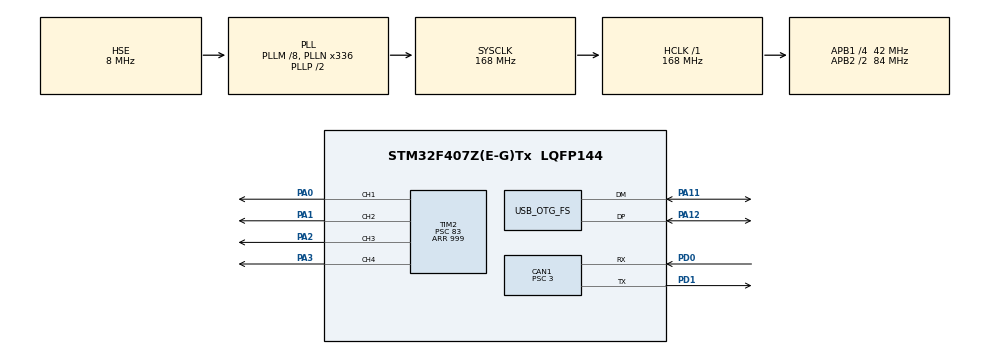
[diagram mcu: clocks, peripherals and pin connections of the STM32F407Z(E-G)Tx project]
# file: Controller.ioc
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CAN1.ABOM=ENABLE
CAN1.BS1=CAN_BS1_11TQ
CAN1.BS2=CAN_BS2_2TQ
CAN1.CalculateBaudRate=1000000
CAN1.CalculateTimeBit=1000
CAN1.CalculateTimeQuantum=71.42857142857143
CAN1.NART=ENABLE
CAN1.Prescaler=3
CAN1.TXFP=ENABLE
FREERTOS.Queues01=canRxQueue,64,CAN_RxPacketTypeDef,0,Dynamic,NULL,NULL;powerManagementQueue,32,Robot_general,0,Dynamic,NULL,NULL;sensorEkfData,32,Robot_general,0,Dynamic,NULL,NULL;motionControl,32,Robot_general,0,Dynamic,NULL,NULL
FREERTOS.Tasks01=Contorl,24,256,MotionControlTask,Default,NULL,Dynamic,NULL,NULL;CanDataCenter,32,256,CanCommunicationTask,Default,NULL,Dynamic,NULL,NULL;PowerManagement,16,256,PowerHandleTask,Default,NULL,Dynamic,NULL,NULL;EkfAlgorithm,24,256,NavigationEkfTask,Default,NULL,Dynamic,NULL,NULL
Mcu.Family=STM32F4
Mcu.Name=STM32F407Z(E-G)Tx
Mcu.Package=LQFP144
NVIC.CAN1_RX0_IRQn=true\:5\:0\:true\:false\:true\:true\:true\:true\:true
NVIC.OTG_FS_IRQn=true\:5\:0\:false\:false\:true\:true\:false\:true\:true
NVIC.PriorityGroup=NVIC_PRIORITYGROUP_4
NVIC.TIM6_DAC_IRQn=true\:15\:0\:false\:false\:true\:false\:false\:true\:true
NVIC.TimeBase=TIM6_DAC_IRQn
NVIC.TimeBaseIP=TIM6
PA0-WKUP.Signal=S_TIM2_CH1_ETR
PA1.Signal=S_TIM2_CH2
PA11.Mode=Device_Only
PA11.Signal=USB_OTG_FS_DM
PA12.Mode=Device_Only
PA12.Signal=USB_OTG_FS_DP
PA13.Mode=Serial_Wire
PA13.Signal=SYS_JTMS-SWDIO
PA14.Mode=Serial_Wire
PA14.Signal=SYS_JTCK-SWCLK
PA2.Signal=S_TIM2_CH3
PA3.Signal=S_TIM2_CH4
PD0.Mode=CAN_Activate
PD0.Signal=CAN1_RX
PD1.Mode=CAN_Activate
PD1.Signal=CAN1_TX
PH0-OSC_IN.Mode=HSE-External-Oscillator
PH0-OSC_IN.Signal=RCC_OSC_IN
PH1-OSC_OUT.Mode=HSE-External-Oscillator
PH1-OSC_OUT.Signal=RCC_OSC_OUT
ProjectManager.HeapSize=0x1000
ProjectManager.StackSize=0x1000
ProjectManager.TargetToolchain=CMake
RCC.48MHZClocksFreq_Value=48000000
RCC.AHBFreq_Value=168000000
RCC.APB1CLKDivider=RCC_HCLK_DIV4
RCC.APB1Freq_Value=42000000
RCC.APB1TimFreq_Value=84000000
RCC.APB2CLKDivider=RCC_HCLK_DIV2
RCC.APB2Freq_Value=84000000
RCC.APB2TimFreq_Value=168000000
RCC.CortexFreq_Value=168000000
RCC.HCLKFreq_Value=168000000
RCC.HSE_VALUE=8000000
RCC.HSI_VALUE=16000000
RCC.LSE_VALUE=32768
RCC.PLLM=8
RCC.PLLN=336
RCC.PLLQ=7
RCC.SYSCLKFreq_VALUE=168000000
RCC.SYSCLKSource=RCC_SYSCLKSOURCE_PLLCLK
RCC.VCOOutputFreq_Value=336000000
SH.S_TIM2_CH1_ETR.0=TIM2_CH1,PWM Generation1 CH1
SH.S_TIM2_CH2.0=TIM2_CH2,PWM Generation2 CH2
SH.S_TIM2_CH3.0=TIM2_CH3,PWM Generation3 CH3
SH.S_TIM2_CH4.0=TIM2_CH4,PWM Generation4 CH4
TIM2.Channel-PWM\ Generation1\ CH1=TIM_CHANNEL_1
TIM2.Channel-PWM\ Generation2\ CH2=TIM_CHANNEL_2
TIM2.Channel-PWM\ Generation3\ CH3=TIM_CHANNEL_3
TIM2.Channel-PWM\ Generation4\ CH4=TIM_CHANNEL_4
TIM2.Period=999
TIM2.Prescaler=83
TIM2.Pulse-PWM\ Generation1\ CH1=0
USB_DEVICE.CLASS_NAME_FS=CDC
USB_DEVICE.VirtualMode-CDC_FS=Cdc
USB_DEVICE.VirtualModeFS=Cdc_FS
USB_OTG_FS.VirtualMode=Device_Only
VP_FREERTOS_VS_CMSIS_V2.Mode=CMSIS_V2
VP_SYS_VS_tim6.Mode=TIM6
VP_TIM2_VS_ClockSourceINT.Mode=Internal
VP_USB_DEVICE_VS_USB_DEVICE_CDC_FS.Mode=CDC_FS
board=custom

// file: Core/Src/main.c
/* USER CODE BEGIN Header */
/**
  ******************************************************************************
  * @file           : main.c
  * @brief          : Main program body
  ******************************************************************************
  * @attention
  *
  * Copyright (c) 2026 STMicroelectronics.
  * All rights reserved.
  *
  * This software is licensed under terms that can be found in the LICENSE file
  * in the root directory of this software component.
  * If no LICENSE file comes with this software, it is provided AS-IS.
  *
  ******************************************************************************
  */
/* USER CODE END Header */
#include "main.h"
#include "cmsis_os.h"
#include "can.h"
#include "tim.h"
#include "usb_device.h"
#include "gpio.h"

/* USER CODE BEGIN Includes */
#include "usbd_cdc_if.h"   // 引入生成的 USB 库函数的发送文件
#include <stdio.h>         // 还是为了用 sprintf 打包文本字符串用
#include <string.h>        // 为了用 strlen()
#include "bsp_can.h"      // 引入我们自己写的 CAN 驱动头文件
/* USER CODE END Includes */

void SystemClock_Config(void);
void MX_FREERTOS_Init(void);

int main(void)
{

  /* MCU Configuration--------------------------------------------------------*/

  /* Reset of all peripherals, Initializes the Flash interface and the Systick. */
  HAL_Init();

  /* Configure the system clock */
  SystemClock_Config();

  /* Initialize all configured peripherals */
  MX_GPIO_Init();
  MX_CAN1_Init();
  MX_TIM2_Init();
  /* USER CODE BEGIN 2 */

  CAN_Filter_Config(); // 1. 应用过滤器配置

  if (HAL_CAN_Start(&hcan1) != HAL_OK) // 2. 启动 CAN 外设
  {
    Error_Handler(); // 启动失败则进入死循环
  }

  if (HAL_CAN_ActivateNotification(&hcan1, CAN_IT_RX_FIFO0_MSG_PENDING) != HAL_OK) // 3. 激活FIFO0数据挂起中断
  {
    Error_Handler(); // 激活中断失败则进入死循环
  }

  HAL_TIM_PWM_Start(&htim2, TIM_CHANNEL_1);
  HAL_TIM_PWM_Start(&htim2, TIM_CHANNEL_2);
  HAL_TIM_PWM_Start(&htim2, TIM_CHANNEL_3);
  HAL_TIM_PWM_Start(&htim2, TIM_CHANNEL_4);
  /* USER CODE END 2 */

  /* Init scheduler */
  osKernelInitialize();  /* Call init function for freertos objects (in cmsis_os2.c) */
  MX_FREERTOS_Init();

  /* Start scheduler */
  osKernelStart();

  /* We should never get here as control is now taken by the scheduler */

  /* Infinite loop */
  while (1)
  {

  }
}

void SystemClock_Config(void)
{
  RCC_OscInitTypeDef RCC_OscInitStruct = {0};
  RCC_ClkInitTypeDef RCC_ClkInitStruct = {0};

  /** Configure the main internal regulator output voltage
  */
  __HAL_RCC_PWR_CLK_ENABLE();
  __HAL_PWR_VOLTAGESCALING_CONFIG(PWR_REGULATOR_VOLTAGE_SCALE1);

  /** Initializes the RCC Oscillators according to the specified parameters
  * in the RCC_OscInitTypeDef structure.
  */
  RCC_OscInitStruct.OscillatorType = RCC_OSCILLATORTYPE_HSE;
  RCC_OscInitStruct.HSEState = RCC_HSE_ON;
  RCC_OscInitStruct.PLL.PLLState = RCC_PLL_ON;
  RCC_OscInitStruct.PLL.PLLSource = RCC_PLLSOURCE_HSE;
  RCC_OscInitStruct.PLL.PLLM = 8;
  RCC_OscInitStruct.PLL.PLLN = 336;
  RCC_OscInitStruct.PLL.PLLP = RCC_PLLP_DIV2;
  RCC_OscInitStruct.PLL.PLLQ = 7;
  if (HAL_RCC_OscConfig(&RCC_OscInitStruct) != HAL_OK)
  {
    Error_Handler();
  }

  /** Initializes the CPU, AHB and APB buses clocks
  */
  RCC_ClkInitStruct.ClockType = RCC_CLOCKTYPE_HCLK|RCC_CLOCKTYPE_SYSCLK
                              |RCC_CLOCKTYPE_PCLK1|RCC_CLOCKTYPE_PCLK2;
  RCC_ClkInitStruct.SYSCLKSource = RCC_SYSCLKSOURCE_PLLCLK;
  RCC_ClkInitStruct.AHBCLKDivider = RCC_SYSCLK_DIV1;
  RCC_ClkInitStruct.APB1CLKDivider = RCC_HCLK_DIV4;
  RCC_ClkInitStruct.APB2CLKDivider = RCC_HCLK_DIV2;

  if (HAL_RCC_ClockConfig(&RCC_ClkInitStruct, FLASH_LATENCY_5) != HAL_OK)
  {
    Error_Handler();
  }
}

void HAL_TIM_PeriodElapsedCallback(TIM_HandleTypeDef *htim)
{
  if (htim->Instance == TIM6)
  {
    HAL_IncTick();
  }
}

void Error_Handler(void)
{
  __disable_irq();
  while (1)
  {
  }
}

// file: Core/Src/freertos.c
/* USER CODE BEGIN Header */
/**
  ******************************************************************************
  * File Name          : freertos.c
  * Description        : Code for freertos applications
  ******************************************************************************
  * @attention
  *
  * Copyright (c) 2026 STMicroelectronics.
  * All rights reserved.
  *
  * This software is licensed under terms that can be found in the LICENSE file
  * in the root directory of this software component.
  * If no LICENSE file comes with this software, it is provided AS-IS.
  *
  ******************************************************************************
  */
/* USER CODE END Header */

#include "FreeRTOS.h"
#include "task.h"
#include "main.h"
#include "cmsis_os.h"

/* USER CODE BEGIN Includes */
#include "usbd_cdc_if.h"
#include <stdint.h>
#include <stdio.h>
#include <string.h>
#include "bsp_can.h" // 引入 CAN 数据包定义
#include "power_management.h" // 引入电源管理业务逻辑层
#include "ekf.h" // 引入 EKF 算法接口
#include "control.h" // 引入运动控制算法接口
#include "FreeRTOSConfig.h" // 用于 SystemCoreClock
/* USER CODE END Includes */

/* USER CODE BEGIN Variables */
/* CAN transmit queue */
osMessageQueueId_t canTxQueueHandle;
const osMessageQueueAttr_t canTxQueue_attributes = {
  .name = "canTxQueue"
};

/* CAN Tx task handle */
osThreadId_t CanTxHandle;
const osThreadAttr_t CanTx_attributes = {
  .name = "CanTxTask",
  .stack_size = 256 * 4,
  .priority = (osPriority_t) osPriorityNormal,
};

/* USER CODE END Variables */
/* Definitions for Contorl */
osThreadId_t ContorlHandle;
const osThreadAttr_t Contorl_attributes = {
  .name = "Contorl",
  .stack_size = 256 * 4,
  .priority = (osPriority_t) osPriorityNormal,
};
/* Definitions for CanDataCenter */
osThreadId_t CanDataCenterHandle;
const osThreadAttr_t CanDataCenter_attributes = {
  .name = "CanDataCenter",
  .stack_size = 256 * 4,
  .priority = (osPriority_t) osPriorityAboveNormal,
};
/* Definitions for PowerManagement */
osThreadId_t PowerManagementHandle;
const osThreadAttr_t PowerManagement_attributes = {
  .name = "PowerManagement",
  .stack_size = 256 * 4,
  .priority = (osPriority_t) osPriorityBelowNormal,
};
/* Definitions for EkfAlgorithm */
osThreadId_t EkfAlgorithmHandle;
const osThreadAttr_t EkfAlgorithm_attributes = {
  .name = "EkfAlgorithm",
  .stack_size = 256 * 4,
  .priority = (osPriority_t) osPriorityNormal,
};
/* Definitions for canRxQueue */
osMessageQueueId_t canRxQueueHandle;
const osMessageQueueAttr_t canRxQueue_attributes = {
  .name = "canRxQueue"
};
/* Definitions for powerManagementQueue */
osMessageQueueId_t powerManagementQueueHandle;
const osMessageQueueAttr_t powerManagementQueue_attributes = {
  .name = "powerManagementQueue"
};
/* Definitions for sensorEkfData */
osMessageQueueId_t sensorEkfDataHandle;
const osMessageQueueAttr_t sensorEkfData_attributes = {
  .name = "sensorEkfData"
};
/* Definitions for motionControl */
osMessageQueueId_t motionControlHandle;
const osMessageQueueAttr_t motionControl_attributes = {
  .name = "motionControl"
};

/* USER CODE BEGIN FunctionPrototypes */
void MonitorTask(void *argument);
void CAN_TxTask(void *argument);

/* 软件扩展的 64 位时钟周期计数器 */
static volatile uint32_t prev_cycles = 0;
static volatile uint64_t cycle_overflows = 0;

/* 获取 64 位时钟周期的安全函数 */
static inline uint64_t get_system_cycles_64(void) {
    uint32_t current_cycles;
    uint64_t overflows;

    /* 屏蔽部分中断以保证读取和状态更新的原子性 */
    uint32_t isr_status = portSET_INTERRUPT_MASK_FROM_ISR();
    current_cycles = DWT->CYCCNT; /* 直接读取底层硬件周期寄存器 */
    if (current_cycles < prev_cycles) {
        cycle_overflows += (1ULL << 32); /* 发生溢出，累加 2^32 */
    }
    prev_cycles = current_cycles;
    overflows = cycle_overflows;
    portCLEAR_INTERRUPT_MASK_FROM_ISR(isr_status);

    return overflows + current_cycles;
}

/* 提供给 FreeRTOS RunTimeStats 的接口，降低时钟频率至 ~10kHz 防止百分比爆炸 */
uint32_t AppGetRunTimeCounterValue(void) {
    /* 10kHz 即 100us 分辨率，最大可以支撑 FreeRTOS 运行约 4.9 天才发生 32位 溢出 */
    return (uint32_t)(get_system_cycles_64() / (SystemCoreClock / 10000));
}

static inline uint64_t get_hardware_time_us(void) {
    /* 利用 64 位周期计数计算微秒，再也不用担心 25 秒后清零导致的延时错误 */
    return get_system_cycles_64() * 1000000ULL / SystemCoreClock;
}

void delay_us(uint32_t us)
{
    uint64_t start_time = get_hardware_time_us();
    uint64_t target_time = start_time + us;

    while(get_hardware_time_us() < target_time)
    {
        /* 等待直到达到目标时间 */
        __NOP(); /* 可选，防止被优化 */
    }
}
/* USER CODE END FunctionPrototypes */

void MotionControlTask(void *argument);
void CanCommunicationTask(void *argument);
void PowerHandleTask(void *argument);
void NavigationEkfTask(void *argument);

extern void MX_USB_DEVICE_Init(void);
void MX_FREERTOS_Init(void); /* (MISRA C 2004 rule 8.1) */

void MX_FREERTOS_Init(void) {
  /* USER CODE BEGIN Init */
  MX_USB_DEVICE_Init();
  /* USER CODE END Init */

  /* USER CODE BEGIN RTOS_MUTEX */
  /* mutexes removed; using queue for CAN Tx */
  /* USER CODE END RTOS_MUTEX */

  /* Create the queue(s) */
  /* creation of canRxQueue */
  canRxQueueHandle = osMessageQueueNew (64, sizeof(CAN_RxPacketTypeDef), &canRxQueue_attributes);

  /* creation of powerManagementQueue */
  powerManagementQueueHandle = osMessageQueueNew (32, sizeof(Robot_general), &powerManagementQueue_attributes);

  /* creation of sensorEkfData */
  sensorEkfDataHandle = osMessageQueueNew (32, sizeof(Robot_general), &sensorEkfData_attributes);

  /* creation of motionControl */
  motionControlHandle = osMessageQueueNew (32, sizeof(Robot_general), &motionControl_attributes);

  /* USER CODE BEGIN RTOS_QUEUES */
  /* creation of canTxQueue */
  canTxQueueHandle = osMessageQueueNew (32, sizeof(CAN_TxPacketTypeDef), &canTxQueue_attributes);

  /* USER CODE END RTOS_QUEUES */

  /* Create the thread(s) */
  /* creation of Contorl */
  ContorlHandle = osThreadNew(MotionControlTask, NULL, &Contorl_attributes);

  /* creation of CanDataCenter */
  CanDataCenterHandle = osThreadNew(CanCommunicationTask, NULL, &CanDataCenter_attributes);

  /* creation of PowerManagement */
  PowerManagementHandle = osThreadNew(PowerHandleTask, NULL, &PowerManagement_attributes);

  /* creation of EkfAlgorithm */
  EkfAlgorithmHandle = osThreadNew(NavigationEkfTask, NULL, &EkfAlgorithm_attributes);

  /* USER CODE BEGIN RTOS_THREADS */
  /* creation of CAN Tx task */
  CanTxHandle = osThreadNew(CAN_TxTask, NULL, &CanTx_attributes);

  /* creation of MonitorTask */
  const osThreadAttr_t MonitorTask_attributes = {
    .name = "MonitorTask",
    .stack_size = 256 * 4,
    .priority = (osPriority_t) osPriorityLow,
  };
  osThreadNew(MonitorTask, NULL, &MonitorTask_attributes);
  /* USER CODE END RTOS_THREADS */

}

void MotionControlTask(void *argument)
{
  /* USER CODE BEGIN MotionControlTask */
  Robot_general data;
  float status[20]; // 20个位姿真值输入
  float status_now[20];
  uint16_t PWM_Value[4]; // 有4个电机的PWM控制输入
  const uint32_t EXEC_PERIOD_US = 20 * 1000; // 执行周期 10ms => 10000us
  uint64_t exec_tick_us = 0; // 算法执行耗时（us）

  memset(status, 0, sizeof(status));

  /* Infinite loop */
  for(;;)
  {
    // 等待控制触发标志（由 CAN 接收线程在收到 0x300 时设置）
    osThreadFlagsWait(0x01, osFlagsWaitAny, osWaitForever);
    delay_us(100); // 短暂等待，确保 CAN 数据已完全更新到队列中
    uint32_t cnt = 0;
    // 清空队列更新状态
    while (osMessageQueueGet(motionControlHandle, &data, NULL, 0) == osOK) {
        if (data.id >= 0x100 && data.id <= 0x107) {
            cnt++;
            int base_idx = (data.id - 0x100) * 2;
            if (base_idx < 20) {
                status[base_idx] = data.FloatBytes.f[0];
            }
            if (base_idx + 1 < 20) {
                status[base_idx + 1] = data.FloatBytes.f[1];
            }
        }
        else if (data.id == 0x300) {
            cnt++;
            // 0x300 包含 dt 和 0.0
            status[16] = data.FloatBytes.f[0]; // dt
            status[17] = data.FloatBytes.f[1]; // reserved
        }
    }
    memcpy(status_now, status, sizeof(status)); // 备份当前状态，供算法使用
    uint64_t start_tick_us = get_hardware_time_us();

    // 执行运动控制算法
    motion_control_algorithm(status_now, PWM_Value); // 运动控制算法处理，输出 PWM 控制值

    // 发送控制结果：ID 0x180 包含4个uint16 (8字节)
    CAN_Send_Data(0x180, (uint8_t *)PWM_Value, 8);

    // 计算算法单次执行耗时（ms）并发送
    exec_tick_us = get_hardware_time_us() - start_tick_us;
    data.FloatBytes.f[0] = (float)exec_tick_us / 1000.0f;  // 转换为毫秒
    CAN_Send_Data(0x400, data.FloatBytes.bytes, 4);
    // CAN_Send_Data(0x301,(uint8_t*)&cnt,4);
  }
  /* USER CODE END MotionControlTask */
}

void CanCommunicationTask(void *argument)
{
  /* USER CODE BEGIN CanCommunicationTask */
  CAN_RxPacketTypeDef rxPacket;
  // uint8_t msg_buffer[64]; // 用于打印调试信息的缓冲区
  Robot_general data;
  /* Infinite loop */
  for(;;)
  {
    // 1. 永久阻塞等待队列中有数据 (osWaitForever)
    if (osMessageQueueGet(canRxQueueHandle, &rxPacket, NULL, osWaitForever) == osOK)
    {
        // 收到 CAN 数据了！
        // 在这里进行业务逻辑处理，例如解析协议、控制电机等

        data.id = rxPacket.header.StdId;
        // Copy up to 8 bytes (two floats)
        for(int i = 0; i < 8 && i < rxPacket.header.DLC; i++) {
          data.FloatBytes.bytes[i] = rxPacket.data[i];
        }

        /* 如果收到仿真时钟包 (CAN ID 0x300, DLC>=4)，解析为两个float：dt和0.0 */
        if (rxPacket.header.StdId == 0x300 && rxPacket.header.DLC >= 8) {
          // 解析为两个float：dt（秒）和0.0
          float dt_seconds;
          float dummy;
          memcpy(&dt_seconds, &rxPacket.data[0], 4);
          memcpy(&dummy, &rxPacket.data[4], 4);
          osMessageQueuePut(motionControlHandle, &data, 0, 0); // 将 dt 包含在 motion control 的队列中
          // 触发运动控制任务和EKF任务
          osThreadFlagsSet(ContorlHandle, 0x01);
          osThreadFlagsSet(EkfAlgorithmHandle, 0x02);
        }

        if (rxPacket.header.StdId >= 0x000 && rxPacket.header.StdId <= 0x0FF) {
            // 电源管理相关数据和指令
            osMessageQueuePut(powerManagementQueueHandle, &data, 0, 0); // 可以将相关数据推入电源管理队列
        } else if (rxPacket.header.StdId >= 0x100 && rxPacket.header.StdId <= 0x1FF) {
            // 运动控制相关数据和指令
            osMessageQueuePut(motionControlHandle, &data, 0, 0); // 将相关数据推入运动控制队列
        } else if (rxPacket.header.StdId >= 0x200 && rxPacket.header.StdId <= 0x2FF) {
            // 传感器数据融合相关
            osMessageQueuePut(sensorEkfDataHandle, &data, 0, 0); // 将传感器数据推入 EKF 队列
        } else if (rxPacket.header.StdId == 0x700) {
            // 环回测试接口 (Ping-Pong Test)，用于测试丢包率和总线延迟
            CAN_Send_Data(0x701, rxPacket.data, rxPacket.header.DLC);
        } else {
            // 其他 ID 的数据
        }
    }
  }
  /* USER CODE END CanCommunicationTask */
}

void PowerHandleTask(void *argument)
{
  /* USER CODE BEGIN PowerHandleTask */
  /* Infinite loop */
  Robot_general data;
  float power_status[10]; // 假设有10个电源相关的状态数据
  float instruction[10]; // 假设有10个电源控制指令输入
  const TickType_t xFrequency = pdMS_TO_TICKS(100); // 10Hz = 100ms周期
  TickType_t xLastWakeTime = xTaskGetTickCount();

  for(;;)
  {
    // 等待下一个周期
    vTaskDelayUntil(&xLastWakeTime, xFrequency);

    // 非阻塞方式检查队列，更新数据
    while (osMessageQueueGet(powerManagementQueueHandle, &data, NULL, 0) == osOK)
    {
        // 接收到数据立即更新（注意：这里假设 data.id 在 0-9 范围内）
        if (data.id < 10) {
            power_status[data.id - 0x000] = data.FloatBytes.f[0];
        }
    }

    // 执行电源管理业务逻辑
    power_management_logic(power_status, instruction);

    // 发送 CAN 数据 (示例：注释掉实际发送)
    for (uint16_t i = 0; i < 10; i++) {
      // CAN_Send_Data(0x080 + i, (uint8_t *)&power_status[i], 4);
      // osDelay(1);
    }
  }
  /* USER CODE END PowerHandleTask */
}

void NavigationEkfTask(void *argument)
{
  /* USER CODE BEGIN NavigationEkfTask */
  /* Infinite loop */
  Robot_general data;
  float sensor_data[10]; // 假设有10个传感器数据输入到 EKF 中，例如 IMU 的加速度、角速度，里程计的速度等
  float result[10]; // 假设 EKF 输出也是 10 个状态变量

  for(;;)
  {
    // 等待 EKF 触发标志（由 CAN 接收线程在收到 0x300 时设置）
    osThreadFlagsWait(0x02, osFlagsWaitAny, osWaitForever);
    delay_us(100); // 短暂等待，确保 CAN 数据已完全更新到队列中
    // 清空队列更新传感器数据
    while (osMessageQueueGet(sensorEkfDataHandle, &data, NULL, 0) == osOK)
    {
        // 接收到数据立即更新（注意：这里假设 data.id 在 0x200-0x2FF 范围内）
        if (data.id >= 0x200 && data.id <= 0x2FF) {
            // 每个 CAN ID 包含两个 float，存储到连续位置
            int base_idx = (data.id - 0x200) * 2;
            if (base_idx < 10) {
                sensor_data[base_idx] = data.FloatBytes.f[0];
            }
            if (base_idx + 1 < 10) {
                sensor_data[base_idx + 1] = data.FloatBytes.f[1];
            }
        }
    }

    // 执行 EKF 算法更新
    ekf_algorithm_update(sensor_data, result); // 伪函数，代表 EKF 算法的更新步骤

    // 发送 EKF 结果
    for (uint16_t i = 0; i < 10; i++) {
      // CAN_Send_Data(0x280 + i, (uint8_t *)&result[i], 4); // 将 EKF 结果通过 CAN 发送出去，ID 从 0x300 开始
      // osDelay(1);
    }
  }
  /* USER CODE END NavigationEkfTask */
}

/* USER CODE BEGIN Application */
void MonitorTask(void *argument)
{
  /*
   * 获取各个任务堆栈的高水位线（即史上最小剩余可用空间）
   * 如果某个任务高水位线经常返回很小的值（如10以下），则说明有栈溢出的风险
   */
  Robot_general data;
  data.id = 0x500; // 专属监控基准ID，后续+1区分不同任务

  for(;;)
  {
    /* 每2秒发送一次堆栈水位监控数据 */
    osDelay(2000);

    /* 必须在此刻调用一次 64位获取函数以保证溢出检测 (即使系统空闲且无中断调用) */
    get_system_cycles_64();

    // 1. 发送 MotionControlTask (ContorlHandle) 的高水位 [ID: 0x500]
    data.FloatBytes.f[0] = (float)uxTaskGetStackHighWaterMark(ContorlHandle);
    data.FloatBytes.f[1] = 0.0f;
    CAN_Send_Data(0x500, data.FloatBytes.bytes, 4);

    // 2. 发送 CanDataCenterTask 的高水位 [ID: 0x501]
    data.FloatBytes.f[0] = (float)uxTaskGetStackHighWaterMark(CanDataCenterHandle);
    data.FloatBytes.f[1] = 0.0f;
    CAN_Send_Data(0x501, data.FloatBytes.bytes, 4);

    // 3. 发送 EkfAlgorithmTask 的高水位 [ID: 0x502]
    data.FloatBytes.f[0] = (float)uxTaskGetStackHighWaterMark(EkfAlgorithmHandle);
    data.FloatBytes.f[1] = 0.0f;
    CAN_Send_Data(0x502, data.FloatBytes.bytes, 4);

    // 4. 发送 PowerManagementTask 的高水位 [ID: 0x503]
    data.FloatBytes.f[0] = (float)uxTaskGetStackHighWaterMark(PowerManagementHandle);
    data.FloatBytes.f[1] = 0.0f;
    CAN_Send_Data(0x503, data.FloatBytes.bytes, 4);

    /* 如果需要，收集并通过 USB 发送运行时统计信息（来自 motion control 的最近执行耗时） */
    char *runTimeStats = pvPortMalloc(1024); // 动态分配 1KB
    if (runTimeStats != NULL) {
        memset(runTimeStats, 0, 1024);
        vTaskGetRunTimeStats(runTimeStats);

        /* 仅发送统计体（不包含 MotionControl 精确耗时） */
        if (CDC_Transmit_FS((uint8_t *)runTimeStats, strlen(runTimeStats)) == 0) { osDelay(50); }

        vPortFree(runTimeStats);
    }
  }
}
/* USER CODE END Application */
